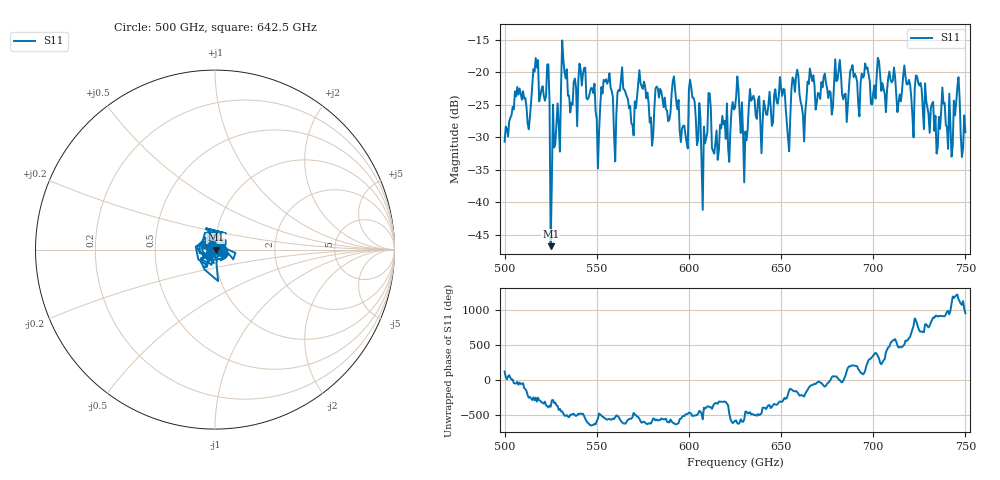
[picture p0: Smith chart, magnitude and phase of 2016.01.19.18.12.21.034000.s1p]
!Created with skrf (http://scikit-rf.org).
# GHz S RI R 50.0
!freq ReS11 ImS11
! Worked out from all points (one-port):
!   401 points, 500 GHz to 750 GHz, reference 50 ohm
!   lowest |S11| = -46.8 dB at 525 GHz (marker M1), VSWR 1.01, Z = 50.4 - j0.129 ohm
!   |S11| at or under -10 dB: start of sweep to end of sweep
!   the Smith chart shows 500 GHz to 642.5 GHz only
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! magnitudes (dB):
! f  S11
! 500 GHz  -30.7
! 506.9 GHz  -22.2
! 513.1 GHz  -28.8
! 516.9 GHz  -17.8
! 523.1 GHz  -18.8
! 525 GHz  -46.8
! 526.2 GHz  -25.0
! 531.2 GHz  -15.1
! 542.5 GHz  -20.2
! 550.6 GHz  -34.8
! 553.8 GHz  -21.2
! 560 GHz  -33.7
! 562.5 GHz  -22.9
! 593.8 GHz  -25.7
! 598.1 GHz  -29.6
! 601.2 GHz  -22.3
! 608.1 GHz  -28.4
! 610.6 GHz  -23.2
! 615 GHz  -29.0
! 625 GHz  -25.5
! 630.6 GHz  -29.1
! 633.8 GHz  -24.4
! 650.6 GHz  -23.6
! 653.8 GHz  -30.0
! 656.2 GHz  -20.8
! 687.5 GHz  -19.8
! 718.8 GHz  -21.8
! 750 GHz  -29.2
